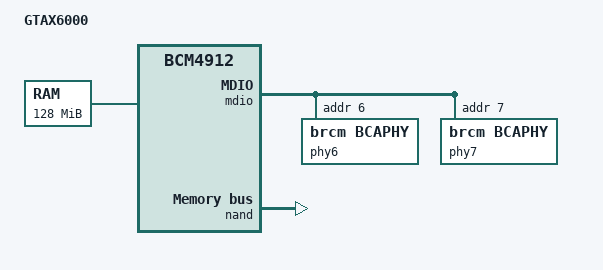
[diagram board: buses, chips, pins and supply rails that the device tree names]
// SPDX-License-Identifier: GPL-2.0+

/dts-v1/;

#include "bcm4912.dtsi"

/ {
	model = "GTAX6000";
	compatible = "brcm,brcm-v8A";

	aliases {
		serial0 = &uart0;
	};

	chosen {
		stdout-path = "serial0:115200n8";
	};

	memory {
		device_type = "memory";
		reg = <0x0 0x0 0x0 0x8000000>;
	};
};

&mdio {
	phy1: 1 {
		status = "okay";
	};

	phy2: 2 {
		status = "okay";
	};

	phy3: 3 {
		status = "okay";
	};

	phy4: 4 {
		status = "okay";
	};

	phy6: 6 {
		compatible = "brcm,bcaphy";
		phy-type = "10GAE";
		reg = <0x06>;
		serdes-core = <0x00>;
		serdes-lane = <0x00>;
		status = "okay";
		phy-handle = <0x0e>;
		phandle = <0x17>;
	};

	phy7: 7 {
		compatible = "brcm,bcaphy";
		phy-type = "10GAE";
		reg = <0x07>;
		serdes-core = <0x01>;
		serdes-lane = <0x00>;
		status = "okay";
		phy-handle = <0x0f>;
		phandle = <0x19>;
	};
};

&switch0 {
	ports {
		port0@0 {
			phy-handle = <&phy1>;
			status = "okay";
			label = "eth1";
		};

		port1@1 {
			phy-handle = <&phy2>;
			status = "okay";
			label = "eth2";
		};

		port2@2 {
			phy-handle = <&phy3>;
			status = "okay";
			label = "eth3";
		};

		port3@3 {
			phy-handle = <&phy4>;
			status = "okay";
			label = "eth4";
		};

		port5@5 {
			reg = <0x05>;
			mac-type = "XPORT";
			xport-intf = <0x01>;
			phy-handle = <&phy6>;
			phy-mode = "serdes";
			status = "okay";
			network-leds = <0x18>;
			label = "eth0";
		};

		port6@6 {
			reg = <0x06>;
			mac-type = "XPORT";
			xport-intf = <0x03>;
			phy-handle = <&phy7>;
			phy-mode = "serdes";
			status = "okay";
			label = "eth5";
		};
	};
};

&nand {
	write-protect = <1>;
	status = "okay";
};
